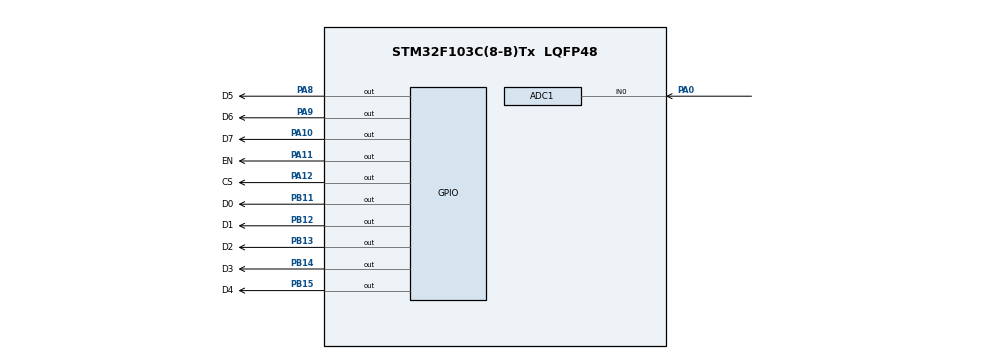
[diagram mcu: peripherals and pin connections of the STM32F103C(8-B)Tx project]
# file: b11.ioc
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ADC1.Channel-0\#ChannelRegularConversion=ADC_CHANNEL_0
ADC1.ContinuousConvMode=ENABLE
ADC1.NbrOfConversion=1
ADC1.NbrOfConversionFlag=1
ADC1.Rank-0\#ChannelRegularConversion=1
ADC1.SamplingTime-0\#ChannelRegularConversion=ADC_SAMPLETIME_1CYCLE_5
ADC1.master=1
Mcu.Family=STM32F1
Mcu.Name=STM32F103C(8-B)Tx
Mcu.Package=LQFP48
NVIC.ADC1_2_IRQn=true\:0\:0\:false\:false\:true\:true\:true\:true
NVIC.PriorityGroup=NVIC_PRIORITYGROUP_4
NVIC.TIM2_IRQn=true\:0\:0\:false\:false\:true\:true\:true\:true
PA0-WKUP.Signal=ADCx_IN0
PA10.GPIO_Label=D7
PA10.Signal=GPIO_Output
PA11.GPIO_Label=EN
PA11.Signal=GPIO_Output
PA12.GPIO_Label=CS
PA12.Signal=GPIO_Output
PA13.Mode=Serial_Wire
PA13.Signal=SYS_JTMS-SWDIO
PA14.Mode=Serial_Wire
PA14.Signal=SYS_JTCK-SWCLK
PA8.GPIO_Label=D5
PA8.Signal=GPIO_Output
PA9.GPIO_Label=D6
PA9.Signal=GPIO_Output
PB11.GPIO_Label=D0
PB11.Signal=GPIO_Output
PB12.GPIO_Label=D1
PB12.Signal=GPIO_Output
PB13.GPIO_Label=D2
PB13.Signal=GPIO_Output
PB14.GPIO_Label=D3
PB14.Signal=GPIO_Output
PB15.GPIO_Label=D4
PB15.Signal=GPIO_Output
ProjectManager.HeapSize=0x200
ProjectManager.StackSize=0x400
ProjectManager.TargetToolchain=MDK-ARM V5.32
RCC.APB1Freq_Value=8000000
RCC.APB2Freq_Value=8000000
SH.ADCx_IN0.0=ADC1_IN0,IN0
TIM2.AutoReloadPreload=TIM_AUTORELOAD_PRELOAD_ENABLE
TIM2.Period=4999
TIM2.Prescaler=1599
VP_TIM2_VS_ClockSourceINT.Mode=Internal
board=custom

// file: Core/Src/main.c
/* USER CODE BEGIN Header */
/**
  ******************************************************************************
  * @file           : main.c
  * @brief          : Main program body
  ******************************************************************************
  * @attention
  *
  * Copyright (c) 2022 STMicroelectronics.
  * All rights reserved.
  *
  * This software is licensed under terms that can be found in the LICENSE file
  * in the root directory of this software component.
  * If no LICENSE file comes with this software, it is provided AS-IS.
  *
  ******************************************************************************
  */
/* USER CODE END Header */
#include "main.h"

/* USER CODE BEGIN Includes */
#include "CLCD.h"
#include <stdio.h>
/* USER CODE END Includes */

ADC_HandleTypeDef hadc1;

TIM_HandleTypeDef htim2;

/* USER CODE BEGIN PV */

int phut = 0;
int giay = 0;

CLCD_Name LCD1;
char LCD_send[16];
uint16_t adc_value;
uint16_t temp_adc = 0;
float nhiet_do = 0;
uint8_t i ;
/* USER CODE END PV */

void SystemClock_Config(void);
static void MX_GPIO_Init(void);
static void MX_ADC1_Init(void);
static void MX_TIM2_Init(void);

/* USER CODE BEGIN 0 */

void HAL_TIM_PeriodElapsedCallback(TIM_HandleTypeDef *htim)
{
  /* Prevent unused argument(s) compilation warning */

	if(htim->Instance == TIM2)
	{
			giay++;

	}
  /* NOTE : This function should not be modified, when the callback is needed,
            the HAL_TIM_PeriodElapsedCallback could be implemented in the user file
   */
}
/* USER CODE END 0 */

int main(void)
{

  /* MCU Configuration--------------------------------------------------------*/

  /* Reset of all peripherals, Initializes the Flash interface and the Systick. */
  HAL_Init();

  /* Configure the system clock */
  SystemClock_Config();

  /* Initialize all configured peripherals */
  MX_GPIO_Init();
  MX_ADC1_Init();
  MX_TIM2_Init();
  /* USER CODE BEGIN 2 */
	CLCD_8BIT_Init(&LCD1, 16, 2, CS_GPIO_Port, CS_Pin, EN_GPIO_Port, EN_Pin,
									D0_GPIO_Port, D0_Pin, D1_GPIO_Port, D1_Pin,
									D2_GPIO_Port, D2_Pin, D3_GPIO_Port, D3_Pin,
									D4_GPIO_Port, D4_Pin, D5_GPIO_Port, D5_Pin,
									D6_GPIO_Port, D6_Pin, D7_GPIO_Port, D7_Pin);
	//CLCD_SetCursor(&LCD1, 0, 0);
	//CLCD_WriteString(&LCD1, "READ ADC");
	HAL_TIM_Base_Start_IT(&htim2);
	HAL_ADC_Start_IT(&hadc1);

  /* USER CODE END 2 */

  /* Infinite loop */
  while (1)
  {

    /* USER CODE BEGIN 3 */
			if(giay == 60)
	 {
		 phut++;
		 giay = 0;
	 }
	 if(phut == 60)
	 {
		 phut = 0 ;
		 giay = 0 ;
	 }
			CLCD_SetCursor(&LCD1, 5,1);
			if(phut <10)
			{
				sprintf(LCD_send,"0%d:", phut);
			}else
			{
				sprintf(LCD_send,"%2d:", phut);
			}
			CLCD_WriteString(&LCD1, LCD_send);
			CLCD_SetCursor(&LCD1, 8,1);
			if(giay <10)
			{
				sprintf(LCD_send,"0%d", giay);
			}else
			{
				sprintf(LCD_send,"%2d", giay);
			}
			CLCD_WriteString(&LCD1, LCD_send);

////////////////////////// Read ADC

		HAL_ADC_PollForConversion(&hadc1, 100);
		adc_value = HAL_ADC_GetValue(&hadc1);
		for(i=0; i<20; i++){
			temp_adc += adc_value;
			HAL_Delay(10);
		}
		temp_adc = temp_adc/20;
		nhiet_do = (((temp_adc*3.3*100)/4095)-1.5);
		CLCD_SetCursor(&LCD1, 0, 0);
		CLCD_WriteString(&LCD1, "Temperature:");
		sprintf(LCD_send, "%.3f", nhiet_do);
		CLCD_WriteString(&LCD1, LCD_send);
		HAL_Delay(100);
/////////////////////// Display time
	}
  /* USER CODE END 3 */
}

void SystemClock_Config(void)
{
  RCC_OscInitTypeDef RCC_OscInitStruct = {0};
  RCC_ClkInitTypeDef RCC_ClkInitStruct = {0};
  RCC_PeriphCLKInitTypeDef PeriphClkInit = {0};

  /** Initializes the RCC Oscillators according to the specified parameters
  * in the RCC_OscInitTypeDef structure.
  */
  RCC_OscInitStruct.OscillatorType = RCC_OSCILLATORTYPE_HSI;
  RCC_OscInitStruct.HSIState = RCC_HSI_ON;
  RCC_OscInitStruct.HSICalibrationValue = RCC_HSICALIBRATION_DEFAULT;
  RCC_OscInitStruct.PLL.PLLState = RCC_PLL_NONE;
  if (HAL_RCC_OscConfig(&RCC_OscInitStruct) != HAL_OK)
  {
    Error_Handler();
  }

  /** Initializes the CPU, AHB and APB buses clocks
  */
  RCC_ClkInitStruct.ClockType = RCC_CLOCKTYPE_HCLK|RCC_CLOCKTYPE_SYSCLK
                              |RCC_CLOCKTYPE_PCLK1|RCC_CLOCKTYPE_PCLK2;
  RCC_ClkInitStruct.SYSCLKSource = RCC_SYSCLKSOURCE_HSI;
  RCC_ClkInitStruct.AHBCLKDivider = RCC_SYSCLK_DIV1;
  RCC_ClkInitStruct.APB1CLKDivider = RCC_HCLK_DIV1;
  RCC_ClkInitStruct.APB2CLKDivider = RCC_HCLK_DIV1;

  if (HAL_RCC_ClockConfig(&RCC_ClkInitStruct, FLASH_LATENCY_0) != HAL_OK)
  {
    Error_Handler();
  }
  PeriphClkInit.PeriphClockSelection = RCC_PERIPHCLK_ADC;
  PeriphClkInit.AdcClockSelection = RCC_ADCPCLK2_DIV2;
  if (HAL_RCCEx_PeriphCLKConfig(&PeriphClkInit) != HAL_OK)
  {
    Error_Handler();
  }
}

static void MX_ADC1_Init(void)
{

  ADC_ChannelConfTypeDef sConfig = {0};

  /** Common config
  */
  hadc1.Instance = ADC1;
  hadc1.Init.ScanConvMode = ADC_SCAN_DISABLE;
  hadc1.Init.ContinuousConvMode = ENABLE;
  hadc1.Init.DiscontinuousConvMode = DISABLE;
  hadc1.Init.ExternalTrigConv = ADC_SOFTWARE_START;
  hadc1.Init.DataAlign = ADC_DATAALIGN_RIGHT;
  hadc1.Init.NbrOfConversion = 1;
  if (HAL_ADC_Init(&hadc1) != HAL_OK)
  {
    Error_Handler();
  }

  /** Configure Regular Channel
  */
  sConfig.Channel = ADC_CHANNEL_0;
  sConfig.Rank = ADC_REGULAR_RANK_1;
  sConfig.SamplingTime = ADC_SAMPLETIME_1CYCLE_5;
  if (HAL_ADC_ConfigChannel(&hadc1, &sConfig) != HAL_OK)
  {
    Error_Handler();
  }

}

static void MX_TIM2_Init(void)
{

  TIM_ClockConfigTypeDef sClockSourceConfig = {0};
  TIM_MasterConfigTypeDef sMasterConfig = {0};

  htim2.Instance = TIM2;
  htim2.Init.Prescaler = 1599;
  htim2.Init.CounterMode = TIM_COUNTERMODE_UP;
  htim2.Init.Period = 4999;
  htim2.Init.ClockDivision = TIM_CLOCKDIVISION_DIV1;
  htim2.Init.AutoReloadPreload = TIM_AUTORELOAD_PRELOAD_ENABLE;
  if (HAL_TIM_Base_Init(&htim2) != HAL_OK)
  {
    Error_Handler();
  }
  sClockSourceConfig.ClockSource = TIM_CLOCKSOURCE_INTERNAL;
  if (HAL_TIM_ConfigClockSource(&htim2, &sClockSourceConfig) != HAL_OK)
  {
    Error_Handler();
  }
  sMasterConfig.MasterOutputTrigger = TIM_TRGO_RESET;
  sMasterConfig.MasterSlaveMode = TIM_MASTERSLAVEMODE_DISABLE;
  if (HAL_TIMEx_MasterConfigSynchronization(&htim2, &sMasterConfig) != HAL_OK)
  {
    Error_Handler();
  }

}

static void MX_GPIO_Init(void)
{
  GPIO_InitTypeDef GPIO_InitStruct = {0};

  /* GPIO Ports Clock Enable */
  __HAL_RCC_GPIOA_CLK_ENABLE();
  __HAL_RCC_GPIOB_CLK_ENABLE();

  /*Configure GPIO pin Output Level */
  HAL_GPIO_WritePin(GPIOB, D0_Pin|D1_Pin|D2_Pin|D3_Pin
                          |D4_Pin, GPIO_PIN_RESET);

  /*Configure GPIO pin Output Level */
  HAL_GPIO_WritePin(GPIOA, D5_Pin|D6_Pin|D7_Pin|EN_Pin
                          |CS_Pin, GPIO_PIN_RESET);

  /*Configure GPIO pins : D0_Pin D1_Pin D2_Pin D3_Pin
                           D4_Pin */
  GPIO_InitStruct.Pin = D0_Pin|D1_Pin|D2_Pin|D3_Pin
                          |D4_Pin;
  GPIO_InitStruct.Mode = GPIO_MODE_OUTPUT_PP;
  GPIO_InitStruct.Pull = GPIO_NOPULL;
  GPIO_InitStruct.Speed = GPIO_SPEED_FREQ_LOW;
  HAL_GPIO_Init(GPIOB, &GPIO_InitStruct);

  /*Configure GPIO pins : D5_Pin D6_Pin D7_Pin EN_Pin
                           CS_Pin */
  GPIO_InitStruct.Pin = D5_Pin|D6_Pin|D7_Pin|EN_Pin
                          |CS_Pin;
  GPIO_InitStruct.Mode = GPIO_MODE_OUTPUT_PP;
  GPIO_InitStruct.Pull = GPIO_NOPULL;
  GPIO_InitStruct.Speed = GPIO_SPEED_FREQ_LOW;
  HAL_GPIO_Init(GPIOA, &GPIO_InitStruct);

}

void Error_Handler(void)
{
  __disable_irq();
  while (1)
  {
  }
}
